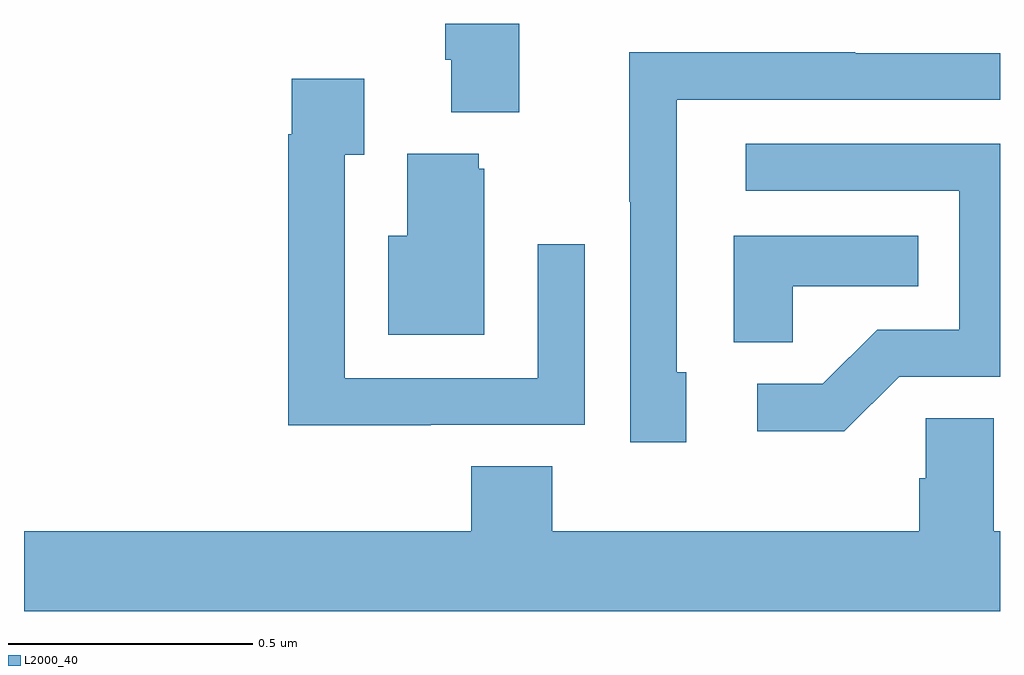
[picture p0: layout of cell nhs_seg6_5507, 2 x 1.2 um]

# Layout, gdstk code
import gdstk
lib = gdstk.Library(unit=1e-6, precision=1e-09)
def P(c, l, *ps):  # polygons
    for p in ps: c.add(gdstk.Polygon(p, *l))
L2000_40 = (2000, 40)

nhs_seg6_5507 = lib.new_cell('nhs_seg6_5507')
P(nhs_seg6_5507, L2000_40, [(184.015,988.5),(183.863,988.5),(183.863,988.426),(183.875,988.426),(183.875,988.319),(184.015,988.319)],
  [(184.357,987.786),(184.338,987.786),(184.338,988.344),(185,988.344),(185,988.44),(184.703,988.44),(184.703,988.442),(184.24,988.442),(184.24,988.135),(184.242,988.135),(184.242,987.642),(184.357,987.642)],
  [(183.833,987.678),(184.149,987.678),(184.149,988.048),(184.053,988.048),(184.053,987.774),(183.657,987.774),(183.657,988.231),(183.697,988.231),(183.697,988.387),(183.549,988.387),(183.549,988.274),(183.541,988.274),(183.541,987.677),(183.833,987.677)],
  [(184.794,987.777),(185,987.777),(185,988.254),(184.479,988.254),(184.479,988.158),(184.917,988.158),(184.917,987.873),(184.748,987.873),(184.637,987.762),(184.503,987.762),(184.503,987.665),(184.681,987.665)],
  [(183.943,988.203),(183.932,988.203),(183.932,988.234),(183.785,988.234),(183.785,988.066),(183.746,988.066),(183.746,987.863),(183.943,987.863)],
  [(184.575,987.962),(184.832,987.962),(184.832,988.066),(184.454,988.066),(184.454,987.847),(184.575,987.847)],
  [(185,987.46),(184.987,987.46),(184.987,987.692),(184.848,987.692),(184.848,987.569),(184.835,987.569),(184.835,987.46),(184.082,987.46),(184.082,987.593),(183.917,987.593),(183.917,987.46),(183,987.46),(183,987.296),(185,987.296)])

lib.write_gds('nhs_seg6_5507.gds')
